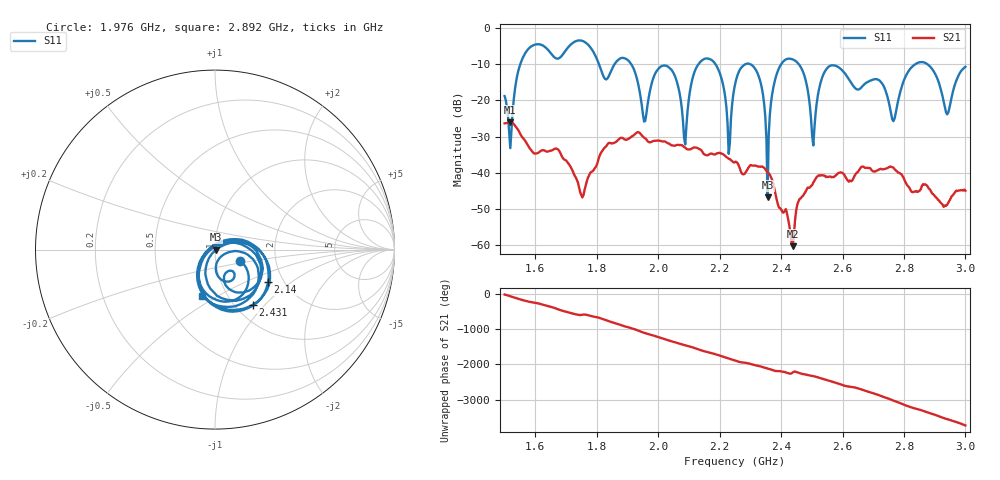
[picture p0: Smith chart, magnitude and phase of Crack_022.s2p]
# HZ S RI R 50
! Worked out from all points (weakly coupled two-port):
!   404 points, 1.5 GHz to 3 GHz, reference 50 ohm
!   highest |S21| = -26.09 dB at 1.519 GHz (marker M1); lowest = -60.2 dB at 2.438 GHz (marker M2)
!   lowest |S11| = -46.8 dB at 2.356 GHz (marker M3), VSWR 1.01, Z = 50.4 - j0.107 ohm
!   |S11| at or under -10 dB: 1.912 GHz to 2.132 GHz (220.1 MHz wide, 10.9 % of centre); 2.457 GHz to 2.838 GHz (381 MHz wide, 14.4 % of centre); 2.875 GHz to end of sweep (the widest 3 of 7)
!   S12 and S22 are empty: the file has one direction only
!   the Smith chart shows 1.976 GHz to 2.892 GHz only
!   S11 on the Smith chart (normalised r, x): 1.976 GHz: 1.32, -0.17; 2.14 GHz: 1.66, -0.69; 2.431 GHz: 1.20, -0.86; 2.892 GHz: 0.76, -0.43
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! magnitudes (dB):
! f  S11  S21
! 1.5 GHz  -18.8  -26.4
! 1.519 GHz  -33.2  -26.1
! 1.574 GHz  -6.1  -32.3
! 1.753 GHz  -3.6  -46.8
! 1.976 GHz  -16.2  -31.5
! 2.002 GHz  -11.2  -31.2
! 2.088 GHz  -32.2  -33.1
! 2.14 GHz  -9.2  -33.8
! 2.196 GHz  -11.6  -34.6
! 2.23 GHz  -34.8  -36.1
! 2.252 GHz  -15.0  -36.9
! 2.319 GHz  -11.7  -38.1
! 2.356 GHz  -46.8  -39.9
! 2.382 GHz  -13.8  -45.9
! 2.431 GHz  -8.6  -56.7
! 2.438 GHz  -8.7  -60.2
! 2.501 GHz  -29.9  -43.4
! 2.561 GHz  -10.5  -41.0
! 2.751 GHz  -20.5  -38.5
! 2.892 GHz  -11.4  -45.7
! 2.94 GHz  -23.9  -48.8
! 3 GHz  -10.8  -45.0
